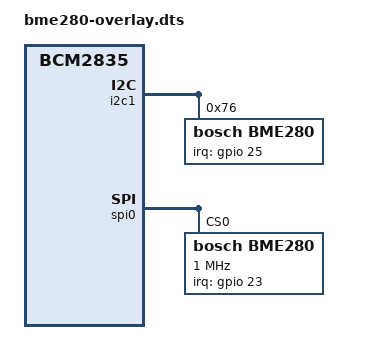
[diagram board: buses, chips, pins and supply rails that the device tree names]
/dts-v1/;
/plugin/;

/ {
    compatible = "brcm,bcm2835"; /* Example for Raspberry Pi, adjust as needed */

    /* I2C configuration for BME280 */
    fragment@0 {
        target = <&i2c1>;
        __overlay__ {
            #address-cells = <1>;
            #size-cells = <0>;
            status = "okay";

            bme280@76 {
                compatible = "bosch,bme280";
                reg = <0x76>;
                interrupt-parent = <&gpio>;
                interrupts = <25 2>; /* GPIO25, IRQ_TYPE_EDGE_RISING */
                status = "okay";
            };
        };
    };

    /* SPI configuration for BME280 */
    fragment@1 {
        target = <&spi0>;
        __overlay__ {
            #address-cells = <1>;
            #size-cells = <0>;
            status = "okay";

            bme280@0 {
                compatible = "bosch,bme280";
                reg = <0>;
                spi-max-frequency = <1000000>;
                interrupt-parent = <&gpio>;
                interrupts = <23 2>; /* GPIO23, IRQ_TYPE_EDGE_RISING */
                status = "okay";
            };
        };
    };
};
